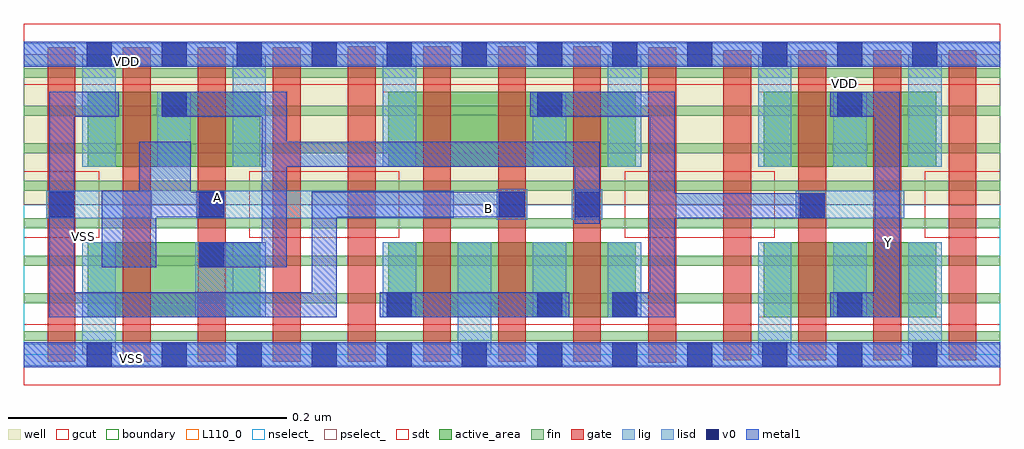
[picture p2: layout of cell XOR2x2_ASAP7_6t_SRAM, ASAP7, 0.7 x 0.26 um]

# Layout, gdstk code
import gdstk
lib = gdstk.Library(unit=1e-6, precision=2.5e-10)
def R(c, l, rs):  # rectangles x0, y0, x1, y1
    for r in rs: c.add(gdstk.rectangle(r[:2], r[2:], *l))
def A(c, l, x, y, w, h, nx, ny, dx, dy):  # array of equal rectangles
    R(c, l, [(x+i*dx, y+j*dy, x+i*dx+w, y+j*dy+h) for i in range(nx) for j in range(ny)])
def P(c, l, *ps):  # polygons
    for p in ps: c.add(gdstk.Polygon(p, *l))
well = (1, 0)
fin = (2, 0)
gate = (7, 0)
gcut = (10, 0)
active_area = (11, 0)
nselect_ = (12, 0)
pselect_ = (13, 0)
lig = (16, 0)
lisd = (17, 0)
v0 = (18, 0)
metal1 = (19, 0)
sdt = (88, 0)
boundary = (100, 0)
L110_0 = (110, 0)

xor2x2_asap7_6t_sram = lib.new_cell('XOR2x2_ASAP7_6t_SRAM')
R(xor2x2_asap7_6t_sram, well, [(0,0.108,0.702,0.216)])
A(xor2x2_asap7_6t_sram, fin, 0, 0.01, 0.702, 0.007, 1, 8, 0, 0.027)
A(xor2x2_asap7_6t_sram, gate, 0.017, -0.005, 0.02, 0.226, 4, 1, 0.054, 0)
A(xor2x2_asap7_6t_sram, gate, 0.233, -0.005, 0.02, 0.227, 4, 1, 0.054, 0)
A(xor2x2_asap7_6t_sram, gate, 0.503, -0.004, 0.02, 0.223, 4, 1, 0.054, 0)
R(xor2x2_asap7_6t_sram, gate, [(0.449,-0.006,0.469,0.221)])
R(xor2x2_asap7_6t_sram, gcut, [(0,-0.022,0.702,0.022), (0,0.084,0.054,0.132), (0.162,0.084,0.27,0.132), (0.432,0.084,0.54,0.132), (0.648,0.084,0.702,0.132), (0,0.194,0.702,0.238)])
R(xor2x2_asap7_6t_sram, active_area, [(0.046,0.027,0.17,0.081), (0.262,0.027,0.44,0.081), (0.532,0.027,0.656,0.081), (0.046,0.135,0.17,0.189), (0.262,0.135,0.44,0.189), (0.532,0.135,0.656,0.189)])
R(xor2x2_asap7_6t_sram, nselect_, [(0,0,0.702,0.108)])
R(xor2x2_asap7_6t_sram, pselect_, [(0,0.108,0.702,0.216)])
R(xor2x2_asap7_6t_sram, lig, [(0,-0.008,0.702,0.008), (0.34,0.097,0.362,0.119), (0.394,0.097,0.416,0.119), (0.016,0.098,0.092,0.118), (0.124,0.098,0.309,0.118), (0.555,0.098,0.633,0.118), (0,0.208,0.702,0.224)])
A(xor2x2_asap7_6t_sram, lisd, 0.042, 0.135, 0.024, 0.081, 3, 1, 0.108, 0)
A(xor2x2_asap7_6t_sram, lisd, 0.42, 0.135, 0.024, 0.081, 3, 1, 0.108, 0)
R(xor2x2_asap7_6t_sram, lisd, [(0.042,0,0.066,0.081), (0.312,0,0.336,0.081), (0.528,0,0.552,0.081), (0.636,0,0.66,0.081), (0.123,0.027,0.174,0.081), (0.258,0.027,0.282,0.081), (0.366,0.027,0.39,0.081), (0.42,0.027,0.444,0.081), (0.582,0.027,0.606,0.081), (0.096,0.135,0.12,0.189), (0.366,0.135,0.39,0.189), (0.582,0.135,0.606,0.189)])
A(xor2x2_asap7_6t_sram, v0, 0.045, -0.009, 0.018, 0.018, 12, 2, 0.054, 0.216)
R(xor2x2_asap7_6t_sram, v0, [(0.261,0.027,0.279,0.045), (0.369,0.027,0.387,0.045), (0.423,0.027,0.441,0.045), (0.585,0.027,0.603,0.045), (0.126,0.063,0.144,0.081), (0.558,0.098,0.576,0.116), (0.018,0.099,0.036,0.117), (0.126,0.099,0.144,0.117), (0.342,0.099,0.36,0.117), (0.396,0.099,0.414,0.117), (0.099,0.171,0.117,0.189), (0.369,0.171,0.387,0.189), (0.585,0.171,0.603,0.189)])
R(xor2x2_asap7_6t_sram, metal1, [(0,-0.009,0.702,0.009), (0.256,0.027,0.392,0.045), (0,0.207,0.702,0.225)])
P(xor2x2_asap7_6t_sram, metal1, [(0.144,0.117),(0.12,0.117),(0.12,0.153),(0.083,0.153),(0.083,0.118),(0.056,0.118),(0.056,0.063),(0.095,0.063),(0.095,0.099),(0.144,0.099)],
  [(0.63,0.189),(0.58,0.189),(0.58,0.171),(0.612,0.171),(0.612,0.045),(0.58,0.045),(0.58,0.027),(0.63,0.027)],
  [(0.576,0.116),(0.468,0.116),(0.468,0.189),(0.364,0.189),(0.364,0.171),(0.45,0.171),(0.45,0.045),(0.423,0.045),(0.423,0.027),(0.468,0.027),(0.468,0.098),(0.576,0.098)],
  [(0.414,0.153),(0.189,0.153),(0.189,0.189),(0.099,0.189),(0.099,0.171),(0.171,0.171),(0.171,0.081),(0.126,0.081),(0.126,0.063),(0.189,0.063),(0.189,0.135),(0.396,0.135),(0.396,0.094),(0.414,0.094)],
  [(0.36,0.117),(0.207,0.117),(0.207,0.045),(0.036,0.045),(0.036,0.171),(0.068,0.171),(0.068,0.189),(0.018,0.189),(0.018,0.027),(0.225,0.027),(0.225,0.099),(0.36,0.099)])
A(xor2x2_asap7_6t_sram, sdt, 0.042, 0.027, 0.024, 0.054, 3, 1, 0.108, 0)
A(xor2x2_asap7_6t_sram, sdt, 0.312, 0.027, 0.024, 0.054, 3, 1, 0.054, 0)
A(xor2x2_asap7_6t_sram, sdt, 0.528, 0.027, 0.024, 0.054, 3, 2, 0.054, 0.108)
A(xor2x2_asap7_6t_sram, sdt, 0.042, 0.135, 0.024, 0.054, 3, 1, 0.054, 0)
R(xor2x2_asap7_6t_sram, sdt, [(0.258,0.135,0.282,0.189), (0.366,0.135,0.39,0.189), (0.42,0.135,0.444,0.189)])
R(xor2x2_asap7_6t_sram, boundary, [(0,0,0.702,0.216)])
R(xor2x2_asap7_6t_sram, L110_0, [(0,0,0.702,0.216)])
xor2x2_asap7_6t_sram.add(gdstk.Label('VSS', (0.043,0.085), layer=3, texttype=251))
xor2x2_asap7_6t_sram.add(gdstk.Label('VSS', (0.077,-0.003), layer=19, texttype=251))
xor2x2_asap7_6t_sram.add(gdstk.Label('A', (0.139,0.113), layer=19, texttype=251))
xor2x2_asap7_6t_sram.add(gdstk.Label('Y', (0.622,0.081), layer=19, texttype=251))
xor2x2_asap7_6t_sram.add(gdstk.Label('B', (0.334,0.105), layer=19, texttype=251))
xor2x2_asap7_6t_sram.add(gdstk.Label('VDD', (0.074,0.211), layer=19, texttype=251))
xor2x2_asap7_6t_sram.add(gdstk.Label('VDD', (0.59,0.195), layer=1, texttype=251))

lib.write_gds('XOR2x2_ASAP7_6t_SRAM.gds')
